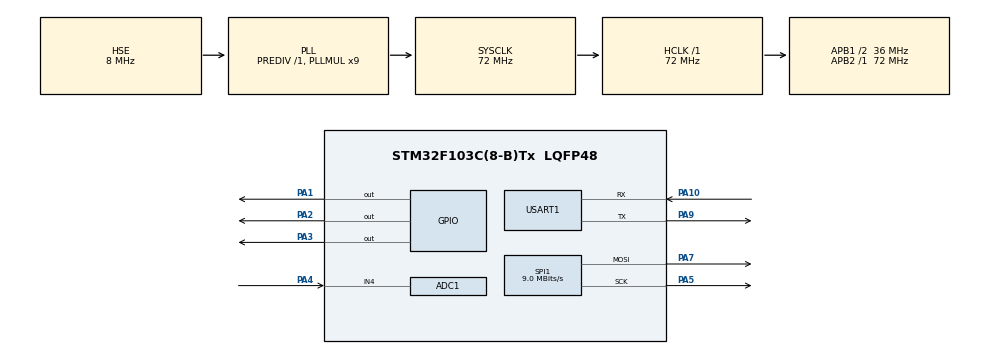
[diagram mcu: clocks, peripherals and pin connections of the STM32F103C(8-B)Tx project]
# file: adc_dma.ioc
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ADC1.Channel-0\#ChannelRegularConversion=ADC_CHANNEL_TEMPSENSOR
ADC1.Channel-1\#ChannelRegularConversion=ADC_CHANNEL_VREFINT
ADC1.Channel-2\#ChannelRegularConversion=ADC_CHANNEL_4
ADC1.ContinuousConvMode=ENABLE
ADC1.NbrOfConversion=3
ADC1.NbrOfConversionFlag=1
ADC1.Rank-0\#ChannelRegularConversion=1
ADC1.Rank-1\#ChannelRegularConversion=2
ADC1.Rank-2\#ChannelRegularConversion=3
ADC1.SamplingTime-0\#ChannelRegularConversion=ADC_SAMPLETIME_239CYCLES_5
ADC1.SamplingTime-1\#ChannelRegularConversion=ADC_SAMPLETIME_239CYCLES_5
ADC1.SamplingTime-2\#ChannelRegularConversion=ADC_SAMPLETIME_239CYCLES_5
ADC1.master=1
Dma.ADC1.0.Direction=DMA_PERIPH_TO_MEMORY
Dma.ADC1.0.Instance=DMA1_Channel1
Dma.ADC1.0.MemDataAlignment=DMA_MDATAALIGN_HALFWORD
Dma.ADC1.0.MemInc=DMA_MINC_ENABLE
Dma.ADC1.0.Mode=DMA_CIRCULAR
Dma.ADC1.0.PeriphDataAlignment=DMA_PDATAALIGN_HALFWORD
Dma.ADC1.0.PeriphInc=DMA_PINC_DISABLE
Dma.ADC1.0.Priority=DMA_PRIORITY_LOW
Dma.Request0=ADC1
Dma.Request1=SPI1_TX
Dma.SPI1_TX.1.Direction=DMA_MEMORY_TO_PERIPH
Dma.SPI1_TX.1.Instance=DMA1_Channel3
Dma.SPI1_TX.1.MemDataAlignment=DMA_MDATAALIGN_BYTE
Dma.SPI1_TX.1.MemInc=DMA_MINC_ENABLE
Dma.SPI1_TX.1.Mode=DMA_NORMAL
Dma.SPI1_TX.1.PeriphDataAlignment=DMA_PDATAALIGN_BYTE
Dma.SPI1_TX.1.PeriphInc=DMA_PINC_DISABLE
Dma.SPI1_TX.1.Priority=DMA_PRIORITY_LOW
Mcu.Family=STM32F1
Mcu.Name=STM32F103C(8-B)Tx
Mcu.Package=LQFP48
NVIC.DMA1_Channel1_IRQn=true\:0\:0\:false\:false\:true\:false\:true\:true
NVIC.DMA1_Channel3_IRQn=true\:0\:0\:false\:false\:true\:false\:true\:true
NVIC.PriorityGroup=NVIC_PRIORITYGROUP_4
NVIC.SPI1_IRQn=true\:0\:0\:false\:false\:true\:true\:true\:true
NVIC.TIM1_UP_IRQn=true\:0\:0\:false\:false\:true\:true\:true\:true
PA1.Signal=GPIO_Output
PA10.Mode=Asynchronous
PA10.Signal=USART1_RX
PA13.Mode=Serial_Wire
PA13.Signal=SYS_JTMS-SWDIO
PA14.Mode=Serial_Wire
PA14.Signal=SYS_JTCK-SWCLK
PA2.Signal=GPIO_Output
PA3.Signal=GPIO_Output
PA4.Signal=SharedAnalog_PA4
PA5.Mode=TX_Only_Simplex_Unidirect_Master
PA5.Signal=SPI1_SCK
PA7.Mode=TX_Only_Simplex_Unidirect_Master
PA7.Signal=SPI1_MOSI
PA9.Mode=Asynchronous
PA9.Signal=USART1_TX
PD0-OSC_IN.Mode=HSE-External-Oscillator
PD0-OSC_IN.Signal=RCC_OSC_IN
PD1-OSC_OUT.Mode=HSE-External-Oscillator
PD1-OSC_OUT.Signal=RCC_OSC_OUT
ProjectManager.HeapSize=0x3000
ProjectManager.StackSize=0x1000
ProjectManager.TargetToolchain=STM32CubeIDE
RCC.ADCPresc=RCC_ADCPCLK2_DIV6
RCC.AHBFreq_Value=72000000
RCC.APB1CLKDivider=RCC_HCLK_DIV2
RCC.APB1Freq_Value=36000000
RCC.APB1TimFreq_Value=72000000
RCC.APB2Freq_Value=72000000
RCC.APB2TimFreq_Value=72000000
RCC.HCLKFreq_Value=72000000
RCC.PLLMUL=RCC_PLL_MUL9
RCC.PLLSourceVirtual=RCC_PLLSOURCE_HSE
RCC.SYSCLKFreq_VALUE=72000000
RCC.SYSCLKSource=RCC_SYSCLKSOURCE_PLLCLK
RCC.USBFreq_Value=72000000
SH.SharedAnalog_PA4.0=GPIO_Analog
SH.SharedAnalog_PA4.1=ADC1_IN4,IN4
SPI1.BaudRatePrescaler=SPI_BAUDRATEPRESCALER_8
SPI1.CLKPhase=SPI_PHASE_2EDGE
SPI1.CLKPolarity=SPI_POLARITY_HIGH
SPI1.CalculateBaudRate=9.0 MBits/s
SPI1.Direction=SPI_DIRECTION_2LINES
SPI1.Mode=SPI_MODE_MASTER
SPI1.VirtualType=VM_MASTER
TIM1.Channel-Output\ Compare1\ No\ Output=TIM_CHANNEL_1
TIM1.Prescaler=719
USART1.VirtualMode=VM_ASYNC
VP_ADC1_TempSens_Input.Mode=IN-TempSens
VP_ADC1_Vref_Input.Mode=IN-Vrefint
VP_TIM1_VS_no_output1.Mode=Output Compare1 No Output
board=custom

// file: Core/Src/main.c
/* USER CODE BEGIN Header */
/**
 * показано, как выполнить сканирование с однократным преобразованием в
режиме DMA. MX_ADC1_Init() конфигурирует АЦП так, чтобы он выполнял однократное сканирование
трех входов. ADCCLK установлен на максимальное значение деления (строка 56), а
режим сканирования включен (строка 58). Как видите, мы конфигурируем АЦП так,
чтобы он всегда выполнял преобразование от внутреннего датчика температуры: это
бесполезная возможность, но, к сожалению, на платах Nucleo нет встроенных аналого-
вых периферийных устройств.
MX_ADC1_Init()
Функция HAL_ADC_MspInit() автоматически вызывается HAL, когда в строке 65 вызыва-
ется процедура HAL_ADC_Init() . Она просто конфигурирует поток 0/канал 0 DMA2 так,
чтобы выполнялись передачи типа периферия-в-память, когда АЦП завершает преобра-
зование. Ясно, что последовательность преобразования определяется рангом, назначен-
ным каналу. Поскольку регистр данных АЦП размером 16 бит, мы конфигурируем DMA
таким образом, чтобы выполнялась передача полуслова. Наконец, HAL автоматически
вызывает функцию HAL_ADC_ConvCpltCallback() , когда заканчивается преобразование
сканирования (вызов данной функции инициируется функцией HAL_DMA_IRQHandler() ,
Аналого-цифровое преобразование
вызываемой из обработчика DMA2_Stream0_IRQHandler() , который здесь не показан).
Обратный вызов устанавливает глобальную переменную, используемую для оповещения
об окончании преобразования.
АЦП запускается в режиме
DMA в строке 26, передавая указатель на массив rawValues и номер преобразования: он
должен соответствовать полю hadc1.Init.NbrOfConversion в строке 62. Наконец, когда пе-
ременная convCompleted устанавливается в 1, содержимое массива rawValues преобразо-
вывается, а результат отправляется по интерфейсу UART.Обратите внимание, что
вызывается HAL_ADC_Stop_DMA() : данная операция выполняется не для того,
чтобы остановить преобразование (которое автоматически останавливается после трех
выборок), а чтобы выполнить правильный алгоритм использования периферийного
устройства АЦП в режиме DMA

12.2.6.1. Многократное преобразование одного канала в режиме DMA
Чтобы выполнить заданное количество преобразований одного и того же канала (или
одной и той же последовательности каналов) в режиме DMA, вам необходимо сделать
следующее:
 -Установить в поле hadc.Init.ContinuousConvMode значение ENABLE .
 - Выделить буфер достаточного размера.
 - Передать HAL_ADC_Start_DMA() количество желаемых преобразований.

12.2.6.2. Многократные и не непрерывные преобразования в режиме
DMA
Чтобы выполнить многократные преобразования в режиме DMA, вам необходимо вы-
полнить следующие шаги:
 - Установить в поле hadc.Init.DMAContinuousRequests значение ENABLE .
 - Вызвать HAL_ADC_Start_DMA() для запуска преобразований в режиме DMA.
 - Если вместо этого в поле hadc.Init.DMAContinuousRequests установить значение DISABLE ,
вам необходимо вызывать HAL_ADC_Stop_DMA() в конце каждой последовательности пре-
образования, а после повторно вызывать HAL_ADC_Start_DMA() . В противном случае пре-
образование не начнется.

 *
 *
  ******************************************************************************
  * @file           : main.c
  * @brief          : Main program body
  ******************************************************************************
  * @attention
  *
  * Copyright (c) 2025 STMicroelectronics.
  * All rights reserved.
  *
  * This software is licensed under terms that can be found in the LICENSE file
  * in the root directory of this software component.
  * If no LICENSE file comes with this software, it is provided AS-IS.
  *
  ******************************************************************************
  */
/* USER CODE END Header */
#include "main.h"

/* USER CODE BEGIN Includes */
#include <stdio.h>
#include <string.h>
#include <stdbool.h>
#include <stdlib.h>

#include "st7789.h"
#include "fonts.h"
/* USER CODE END Includes */

ADC_HandleTypeDef hadc1;
DMA_HandleTypeDef hdma_adc1;

SPI_HandleTypeDef hspi1;
DMA_HandleTypeDef hdma_spi1_tx;

TIM_HandleTypeDef htim1;

UART_HandleTypeDef huart1;

/* USER CODE BEGIN PV */
volatile uint8_t convCompleted = 0;
uint16_t rawValues[3];
/* USER CODE END PV */

void SystemClock_Config(void);
static void MX_GPIO_Init(void);
static void MX_DMA_Init(void);
static void MX_SPI1_Init(void);
static void MX_ADC1_Init(void);
static void MX_TIM1_Init(void);
static void MX_USART1_UART_Init(void);
/* USER CODE BEGIN PFP */

void run_adc(void);
void read_adc_value_and_send(void);
/* USER CODE END PFP */

/* USER CODE BEGIN 0 */
void HAL_ADC_ConvCpltCallback(ADC_HandleTypeDef* hadc)
{
	read_adc_value_and_send();
	HAL_ADC_Stop_DMA(hadc);
}

void run_adc(void)
{
	static uint16_t count = 0;
	count++;
	if ((count % 5) == 0){
		HAL_ADC_Start_DMA(&hadc1, (uint32_t*)rawValues, 3);
	}
}

void read_adc_value_and_send(void)
{
	char msg_uart[128];
	char msg_display[128];
	float temp;
	float mV;

	for(uint8_t i = 0; i < hadc1.Init.NbrOfConversion; i++) {
		mV = ((float)rawValues[i]) / 4095 * 3300;
		//Temperature (in °C) = {(V 25 - V SENSE ) / Avg_Slope} + 25.
		//Avg_Slope(1) Average slope 4.0 4.3 4.6 mV/°C
		//V25(1) Voltage at 25 °C 1.34 1.43 1.52 V
		//https://www.st.com/resource/en/datasheet/stm32f103c8.pdf

		temp = ((1460 - mV) / 4.3) + 25;

		sprintf(msg_uart, "rawValue: %hu\r\n", rawValues[i]);
		sprintf(msg_display, "%d", rawValues[i]);
		HAL_UART_Transmit(&huart1, (uint8_t*) msg_uart, strlen(msg_uart), HAL_MAX_DELAY);
		ST7789_WriteString(20, 10 + i*70, msg_display, Font_16x26, GBLUE, BLACK);
		sprintf(msg_uart, "mV: %f\r\n", mV);
		sprintf(msg_display, "U: %.4f V", mV/1000.0);
		HAL_UART_Transmit(&huart1, (uint8_t*) msg_uart, strlen(msg_uart), HAL_MAX_DELAY);
		ST7789_WriteString(20, 40 + i*70, msg_display, Font_16x26, RED, BLACK);
		if (i == 0){
			sprintf(msg_uart, "Temperature: %.2f\r\n", temp);
			sprintf(msg_display, "t: %.2f C", temp);
			HAL_UART_Transmit(&huart1, (uint8_t*) msg_uart, strlen(msg_uart), HAL_MAX_DELAY);
			ST7789_WriteString(20, 60 + i*70, msg_display, Font_16x26, YELLOW, BLACK);
		}
		HAL_UART_Transmit(&huart1, (uint8_t*) "--", strlen("--"), HAL_MAX_DELAY);

	}
}

void HAL_ADC_ErrorCallback(ADC_HandleTypeDef *hadc)
{
	HAL_ADC_Start_DMA(&hadc1, (uint32_t*)rawValues, 3);
}
/* USER CODE END 0 */

int main(void)
{

  /* MCU Configuration--------------------------------------------------------*/

  /* Reset of all peripherals, Initializes the Flash interface and the Systick. */
  HAL_Init();

  /* Configure the system clock */
  SystemClock_Config();

  /* Initialize all configured peripherals */
  MX_GPIO_Init();
  MX_DMA_Init();
  MX_SPI1_Init();
  MX_ADC1_Init();
  MX_TIM1_Init();
  MX_USART1_UART_Init();
  /* USER CODE BEGIN 2 */

  ST7789_Init();
  HAL_GPIO_WritePin(GPIOA, GPIO_PIN_3, GPIO_PIN_SET);
  /* USER CODE END 2 */

  /* Infinite loop */
  /* USER CODE BEGIN WHILE */

	HAL_TIM_Base_Start_IT(&htim1);
	ST7789_Fill_Color(BLACK);

	while (1)
	{

    /* USER CODE END WHILE */

	}
}

void SystemClock_Config(void)
{
  RCC_OscInitTypeDef RCC_OscInitStruct = {0};
  RCC_ClkInitTypeDef RCC_ClkInitStruct = {0};
  RCC_PeriphCLKInitTypeDef PeriphClkInit = {0};

  /** Initializes the RCC Oscillators according to the specified parameters
  * in the RCC_OscInitTypeDef structure.
  */
  RCC_OscInitStruct.OscillatorType = RCC_OSCILLATORTYPE_HSE;
  RCC_OscInitStruct.HSEState = RCC_HSE_ON;
  RCC_OscInitStruct.HSEPredivValue = RCC_HSE_PREDIV_DIV1;
  RCC_OscInitStruct.HSIState = RCC_HSI_ON;
  RCC_OscInitStruct.PLL.PLLState = RCC_PLL_ON;
  RCC_OscInitStruct.PLL.PLLSource = RCC_PLLSOURCE_HSE;
  RCC_OscInitStruct.PLL.PLLMUL = RCC_PLL_MUL9;
  if (HAL_RCC_OscConfig(&RCC_OscInitStruct) != HAL_OK)
  {
    Error_Handler();
  }

  /** Initializes the CPU, AHB and APB buses clocks
  */
  RCC_ClkInitStruct.ClockType = RCC_CLOCKTYPE_HCLK|RCC_CLOCKTYPE_SYSCLK
                              |RCC_CLOCKTYPE_PCLK1|RCC_CLOCKTYPE_PCLK2;
  RCC_ClkInitStruct.SYSCLKSource = RCC_SYSCLKSOURCE_PLLCLK;
  RCC_ClkInitStruct.AHBCLKDivider = RCC_SYSCLK_DIV1;
  RCC_ClkInitStruct.APB1CLKDivider = RCC_HCLK_DIV2;
  RCC_ClkInitStruct.APB2CLKDivider = RCC_HCLK_DIV1;

  if (HAL_RCC_ClockConfig(&RCC_ClkInitStruct, FLASH_LATENCY_2) != HAL_OK)
  {
    Error_Handler();
  }
  PeriphClkInit.PeriphClockSelection = RCC_PERIPHCLK_ADC;
  PeriphClkInit.AdcClockSelection = RCC_ADCPCLK2_DIV6;
  if (HAL_RCCEx_PeriphCLKConfig(&PeriphClkInit) != HAL_OK)
  {
    Error_Handler();
  }
}

static void MX_ADC1_Init(void)
{

  ADC_ChannelConfTypeDef sConfig = {0};

  /** Common config
  */
  hadc1.Instance = ADC1;
  hadc1.Init.ScanConvMode = ADC_SCAN_ENABLE;
  hadc1.Init.ContinuousConvMode = ENABLE;
  hadc1.Init.DiscontinuousConvMode = DISABLE;
  hadc1.Init.ExternalTrigConv = ADC_SOFTWARE_START;
  hadc1.Init.DataAlign = ADC_DATAALIGN_RIGHT;
  hadc1.Init.NbrOfConversion = 3;
  if (HAL_ADC_Init(&hadc1) != HAL_OK)
  {
    Error_Handler();
  }

  /** Configure Regular Channel
  */
  sConfig.Channel = ADC_CHANNEL_TEMPSENSOR;
  sConfig.Rank = ADC_REGULAR_RANK_1;
  sConfig.SamplingTime = ADC_SAMPLETIME_239CYCLES_5;
  if (HAL_ADC_ConfigChannel(&hadc1, &sConfig) != HAL_OK)
  {
    Error_Handler();
  }

  /** Configure Regular Channel
  */
  sConfig.Channel = ADC_CHANNEL_VREFINT;
  sConfig.Rank = ADC_REGULAR_RANK_2;
  if (HAL_ADC_ConfigChannel(&hadc1, &sConfig) != HAL_OK)
  {
    Error_Handler();
  }

  /** Configure Regular Channel
  */
  sConfig.Channel = ADC_CHANNEL_4;
  sConfig.Rank = ADC_REGULAR_RANK_3;
  if (HAL_ADC_ConfigChannel(&hadc1, &sConfig) != HAL_OK)
  {
    Error_Handler();
  }

}

static void MX_SPI1_Init(void)
{

  /* SPI1 parameter configuration*/
  hspi1.Instance = SPI1;
  hspi1.Init.Mode = SPI_MODE_MASTER;
  hspi1.Init.Direction = SPI_DIRECTION_2LINES;
  hspi1.Init.DataSize = SPI_DATASIZE_8BIT;
  hspi1.Init.CLKPolarity = SPI_POLARITY_HIGH;
  hspi1.Init.CLKPhase = SPI_PHASE_2EDGE;
  hspi1.Init.NSS = SPI_NSS_SOFT;
  hspi1.Init.BaudRatePrescaler = SPI_BAUDRATEPRESCALER_8;
  hspi1.Init.FirstBit = SPI_FIRSTBIT_MSB;
  hspi1.Init.TIMode = SPI_TIMODE_DISABLE;
  hspi1.Init.CRCCalculation = SPI_CRCCALCULATION_DISABLE;
  hspi1.Init.CRCPolynomial = 10;
  if (HAL_SPI_Init(&hspi1) != HAL_OK)
  {
    Error_Handler();
  }

}

static void MX_TIM1_Init(void)
{

  TIM_MasterConfigTypeDef sMasterConfig = {0};
  TIM_OC_InitTypeDef sConfigOC = {0};
  TIM_BreakDeadTimeConfigTypeDef sBreakDeadTimeConfig = {0};

  htim1.Instance = TIM1;
  htim1.Init.Prescaler = 719;
  htim1.Init.CounterMode = TIM_COUNTERMODE_UP;
  htim1.Init.Period = 65535;
  htim1.Init.ClockDivision = TIM_CLOCKDIVISION_DIV1;
  htim1.Init.RepetitionCounter = 0;
  htim1.Init.AutoReloadPreload = TIM_AUTORELOAD_PRELOAD_DISABLE;
  if (HAL_TIM_OC_Init(&htim1) != HAL_OK)
  {
    Error_Handler();
  }
  sMasterConfig.MasterOutputTrigger = TIM_TRGO_RESET;
  sMasterConfig.MasterSlaveMode = TIM_MASTERSLAVEMODE_DISABLE;
  if (HAL_TIMEx_MasterConfigSynchronization(&htim1, &sMasterConfig) != HAL_OK)
  {
    Error_Handler();
  }
  sConfigOC.OCMode = TIM_OCMODE_TIMING;
  sConfigOC.Pulse = 0;
  sConfigOC.OCPolarity = TIM_OCPOLARITY_HIGH;
  sConfigOC.OCNPolarity = TIM_OCNPOLARITY_HIGH;
  sConfigOC.OCFastMode = TIM_OCFAST_DISABLE;
  sConfigOC.OCIdleState = TIM_OCIDLESTATE_RESET;
  sConfigOC.OCNIdleState = TIM_OCNIDLESTATE_RESET;
  if (HAL_TIM_OC_ConfigChannel(&htim1, &sConfigOC, TIM_CHANNEL_1) != HAL_OK)
  {
    Error_Handler();
  }
  sBreakDeadTimeConfig.OffStateRunMode = TIM_OSSR_DISABLE;
  sBreakDeadTimeConfig.OffStateIDLEMode = TIM_OSSI_DISABLE;
  sBreakDeadTimeConfig.LockLevel = TIM_LOCKLEVEL_OFF;
  sBreakDeadTimeConfig.DeadTime = 0;
  sBreakDeadTimeConfig.BreakState = TIM_BREAK_DISABLE;
  sBreakDeadTimeConfig.BreakPolarity = TIM_BREAKPOLARITY_HIGH;
  sBreakDeadTimeConfig.AutomaticOutput = TIM_AUTOMATICOUTPUT_DISABLE;
  if (HAL_TIMEx_ConfigBreakDeadTime(&htim1, &sBreakDeadTimeConfig) != HAL_OK)
  {
    Error_Handler();
  }

}

static void MX_USART1_UART_Init(void)
{

  huart1.Instance = USART1;
  huart1.Init.BaudRate = 115200;
  huart1.Init.WordLength = UART_WORDLENGTH_8B;
  huart1.Init.StopBits = UART_STOPBITS_1;
  huart1.Init.Parity = UART_PARITY_NONE;
  huart1.Init.Mode = UART_MODE_TX_RX;
  huart1.Init.HwFlowCtl = UART_HWCONTROL_NONE;
  huart1.Init.OverSampling = UART_OVERSAMPLING_16;
  if (HAL_UART_Init(&huart1) != HAL_OK)
  {
    Error_Handler();
  }

}

static void MX_DMA_Init(void)
{

  /* DMA controller clock enable */
  __HAL_RCC_DMA1_CLK_ENABLE();

  /* DMA interrupt init */
  /* DMA1_Channel1_IRQn interrupt configuration */
  HAL_NVIC_SetPriority(DMA1_Channel1_IRQn, 0, 0);
  HAL_NVIC_EnableIRQ(DMA1_Channel1_IRQn);
  /* DMA1_Channel3_IRQn interrupt configuration */
  HAL_NVIC_SetPriority(DMA1_Channel3_IRQn, 0, 0);
  HAL_NVIC_EnableIRQ(DMA1_Channel3_IRQn);

}

static void MX_GPIO_Init(void)
{
  GPIO_InitTypeDef GPIO_InitStruct = {0};

  /* GPIO Ports Clock Enable */
  __HAL_RCC_GPIOD_CLK_ENABLE();
  __HAL_RCC_GPIOA_CLK_ENABLE();

  /*Configure GPIO pin Output Level */
  HAL_GPIO_WritePin(GPIOA, GPIO_PIN_1|GPIO_PIN_2|GPIO_PIN_3, GPIO_PIN_RESET);

  /*Configure GPIO pins : PA1 PA2 PA3 */
  GPIO_InitStruct.Pin = GPIO_PIN_1|GPIO_PIN_2|GPIO_PIN_3;
  GPIO_InitStruct.Mode = GPIO_MODE_OUTPUT_PP;
  GPIO_InitStruct.Pull = GPIO_NOPULL;
  GPIO_InitStruct.Speed = GPIO_SPEED_FREQ_LOW;
  HAL_GPIO_Init(GPIOA, &GPIO_InitStruct);

}

void Error_Handler(void)
{
  __disable_irq();
  while (1)
  {
  }
}
